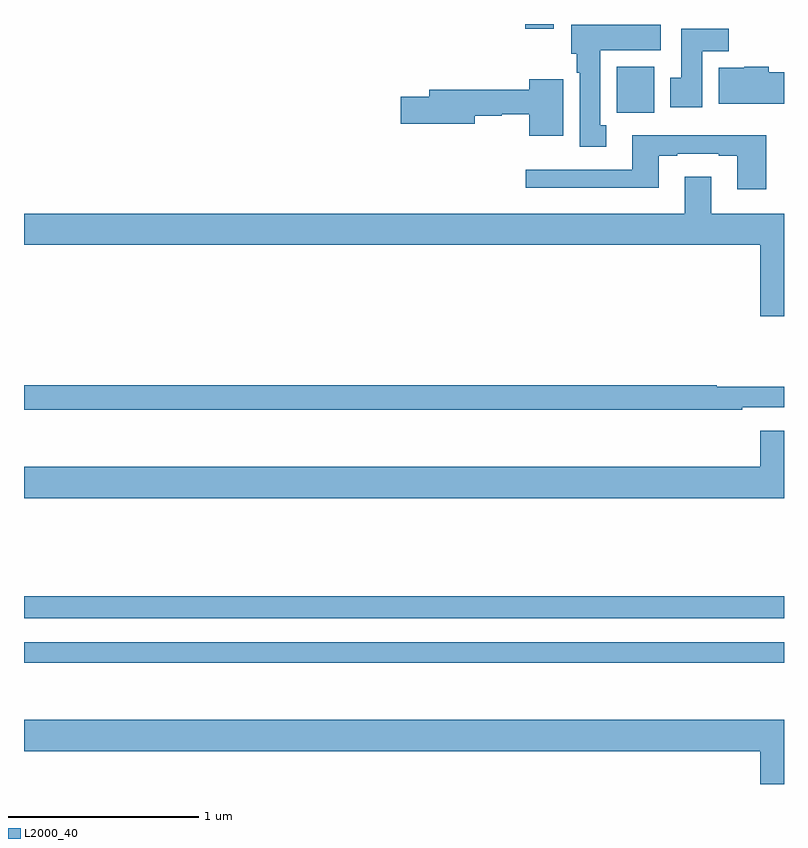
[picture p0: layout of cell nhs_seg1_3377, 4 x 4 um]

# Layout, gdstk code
import gdstk
lib = gdstk.Library(unit=1e-6, precision=1e-09)
def R(c, l, rs):  # rectangles x0, y0, x1, y1
    for r in rs: c.add(gdstk.rectangle(r[:2], r[2:], *l))
def P(c, l, *ps):  # polygons
    for p in ps: c.add(gdstk.Polygon(p, *l))
L2000_40 = (2000, 40)

nhs_seg1_3377 = lib.new_cell('nhs_seg1_3377')
R(nhs_seg1_3377, L2000_40, [(293,578.838,297,578.946), (293,579.072,297,579.188), (296.12,581.732,296.317,581.974), (295.637,582.174,295.789,582.199)])
P(nhs_seg1_3377, L2000_40, [(296.065,581.666),(296.032,581.666),(296.032,582.062),(296.35,582.062),(296.35,582.196),(295.88,582.196),(295.88,582.042),(295.91,582.042),(295.91,581.942),(295.925,581.942),(295.925,581.553),(296.065,581.553)],
  [(296.569,582.056),(296.708,582.056),(296.708,582.175),(296.459,582.175),(296.459,581.916),(296.402,581.916),(296.402,581.76),(296.569,581.76)],
  [(297,581.946),(296.921,581.946),(296.921,581.974),(296.79,581.974),(296.79,581.968),(296.657,581.968),(296.657,581.78),(297,581.78)],
  [(295.837,581.908),(295.658,581.908),(295.658,581.852),(295.133,581.852),(295.133,581.816),(294.984,581.816),(294.984,581.674),(295.372,581.674),(295.372,581.716),(295.515,581.716),(295.515,581.724),(295.658,581.724),(295.658,581.612),(295.837,581.612)],
  [(296.906,581.614),(296.201,581.614),(296.201,581.433),(295.641,581.433),(295.641,581.336),(296.341,581.336),(296.341,581.505),(296.437,581.505),(296.437,581.517),(296.657,581.517),(296.657,581.505),(296.753,581.505),(296.753,581.328),(296.906,581.328)],
  [(297,581.2),(296.617,581.2),(296.617,581.395),(296.477,581.395),(296.477,581.2),(293,581.2),(293,581.036),(296.876,581.036),(296.876,580.662),(297,580.662)],
  [(296.78,580.182),(297,580.182),(297,580.291),(296.645,580.291),(296.645,580.298),(293,580.298),(293,580.17),(296.78,580.17)],
  [(297,580.057),(296.876,580.057),(296.876,579.868),(293,579.868),(293,579.704),(297,579.704)],
  [(297,578.536),(293,578.536),(293,578.372),(296.876,578.372),(296.876,578.199),(297,578.199)])

lib.write_gds('nhs_seg1_3377.gds')
